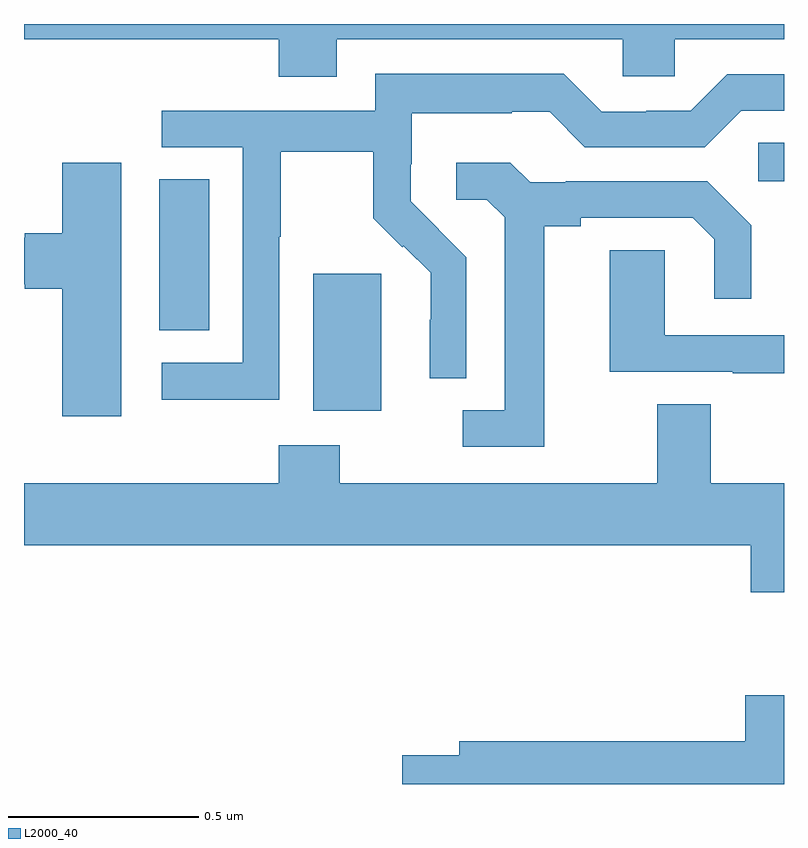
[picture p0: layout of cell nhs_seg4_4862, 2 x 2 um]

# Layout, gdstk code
import gdstk
lib = gdstk.Library(unit=1e-6, precision=1e-09)
def R(c, l, rs):  # rectangles x0, y0, x1, y1
    for r in rs: c.add(gdstk.rectangle(r[:2], r[2:], *l))
def P(c, l, *ps):  # polygons
    for p in ps: c.add(gdstk.Polygon(p, *l))
L2000_40 = (2000, 40)

nhs_seg4_4862 = lib.new_cell('nhs_seg4_4862')
R(nhs_seg4_4862, L2000_40, [(171.761,755.882,171.94,756.243), (171.356,756.094,171.487,756.491), (172.932,756.486,173,756.587)])
P(nhs_seg4_4862, L2000_40, [(171.823,756.86),(172.575,756.86),(172.575,756.762),(172.713,756.762),(172.713,756.86),(173,756.86),(173,756.9),(171,756.9),(171,756.86),(171.671,756.86),(171.671,756.761),(171.823,756.761)],
  [(171.672,756.34),(171.675,756.34),(171.675,756.564),(171.919,756.564),(171.919,756.389),(171.996,756.312),(171.999,756.315),(172.07,756.245),(172.07,756.122),(172.068,756.122),(172.068,755.968),(172.164,755.968),(172.164,756.286),(172.091,756.359),(172.092,756.36),(172.018,756.434),(172.018,756.531),(172.02,756.531),(172.02,756.665),(172.283,756.665),(172.283,756.669),(172.383,756.669),(172.476,756.576),(172.791,756.576),(172.887,756.672),(173,756.672),(173,756.768),(172.851,756.768),(172.755,756.672),(172.637,756.672),(172.637,756.669),(172.521,756.669),(172.421,756.769),(171.924,756.769),(171.924,756.672),(171.363,756.672),(171.363,756.576),(171.576,756.576),(171.576,756.009),(171.363,756.009),(171.363,755.911),(171.672,755.911)],
  [(172.369,756.368),(172.465,756.368),(172.465,756.39),(172.76,756.39),(172.817,756.333),(172.817,756.177),(172.914,756.177),(172.914,756.37),(172.798,756.486),(172.426,756.486),(172.426,756.483),(172.332,756.483),(172.28,756.535),(172.137,756.535),(172.137,756.438),(172.218,756.438),(172.265,756.391),(172.265,755.883),(172.155,755.883),(172.155,755.787),(172.369,755.787)],
  [(171.256,756.535),(171.101,756.535),(171.101,756.35),(171.002,756.35),(171.002,756.337),(171,756.337),(171,756.215),(171.002,756.215),(171.002,756.203),(171.101,756.203),(171.101,755.868),(171.256,755.868)],
  [(173,756.081),(172.686,756.081),(172.686,756.305),(172.541,756.305),(172.541,755.985),(172.865,755.985),(172.865,755.981),(173,755.981)],
  [(173,755.692),(172.807,755.692),(172.807,755.9),(172.667,755.9),(172.667,755.692),(171.831,755.692),(171.831,755.791),(171.671,755.791),(171.671,755.692),(171,755.692),(171,755.528),(172.913,755.528),(172.913,755.404),(173,755.404)],
  [(173,755.134),(172.898,755.134),(172.898,755.012),(172.145,755.012),(172.145,754.976),(171.996,754.976),(171.996,754.9),(173,754.9)])

lib.write_gds('nhs_seg4_4862.gds')
